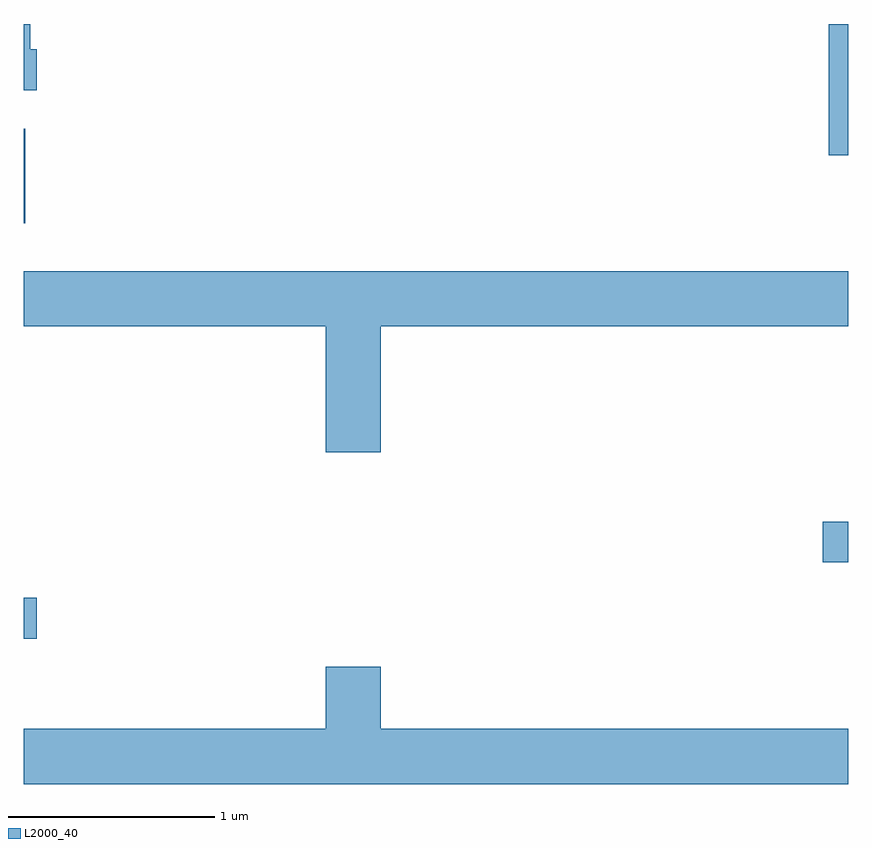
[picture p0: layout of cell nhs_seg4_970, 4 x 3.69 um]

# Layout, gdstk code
import gdstk
lib = gdstk.Library(unit=1e-6, precision=1e-09)
def R(c, l, rs):  # rectangles x0, y0, x1, y1
    for r in rs: c.add(gdstk.rectangle(r[:2], r[2:], *l))
def P(c, l, *ps):  # polygons
    for p in ps: c.add(gdstk.Polygon(p, *l))
L2000_40 = (2000, 40)

nhs_seg4_970 = lib.new_cell('nhs_seg4_970')
R(nhs_seg4_970, L2000_40, [(213.611,1291.001,213.674,1291.199), (217.486,1291.371,217.611,1291.569), (213.611,1293.016,213.619,1293.474), (217.516,1293.346,217.611,1293.982)])
P(nhs_seg4_970, L2000_40, [(213.674,1293.859),(213.644,1293.859),(213.644,1293.982),(213.611,1293.982),(213.611,1293.661),(213.674,1293.661)],
  [(215.344,1292.516),(217.611,1292.516),(217.611,1292.784),(213.611,1292.784),(213.611,1292.516),(215.076,1292.516),(215.076,1291.906),(215.344,1291.906)],
  [(217.611,1290.564),(215.344,1290.564),(215.344,1290.864),(215.076,1290.864),(215.076,1290.564),(213.611,1290.564),(213.611,1290.296),(217.611,1290.296)])

lib.write_gds('nhs_seg4_970.gds')
